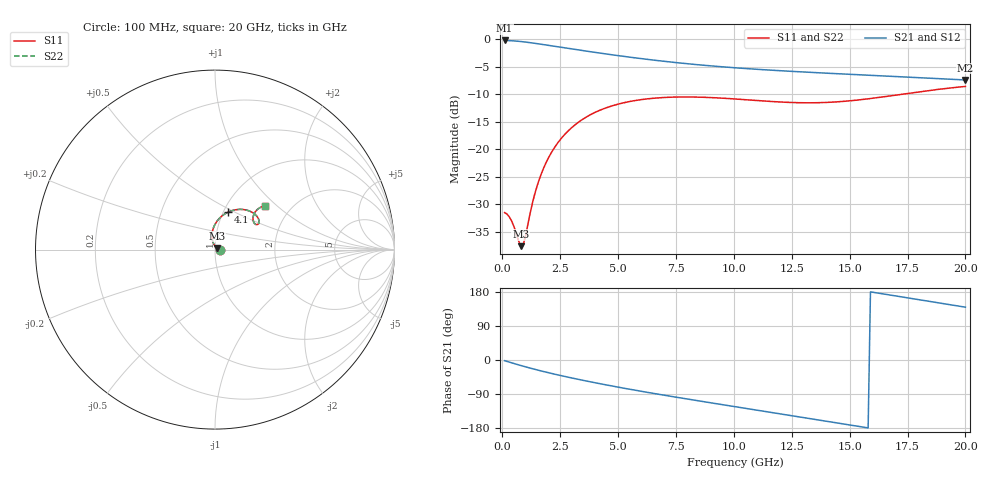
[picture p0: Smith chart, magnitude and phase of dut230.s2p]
! Created with skrf 1.9.0 (http://scikit-rf.org).
# GHz S RI R 50.0
!freq ReS11 ImS11 ReS21 ImS21 ReS12 ImS12 ReS22 ImS22
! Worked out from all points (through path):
!   200 points, 100 MHz to 20 GHz, reference 50 ohm
!   highest |S21| = -0.24 dB at 100 MHz (marker M1); lowest = -7.4 dB at 20 GHz (marker M2)
!   group delay of S21, straight-line fit = 28.9 ps
!   lowest |S11| = -37.6 dB at 800 MHz (marker M3), VSWR 1.03, Z = 51 + j0.87 ohm
!   |S11| at or under -10 dB: start of sweep to 17.29 GHz
!   |S22| runs from -37.6 to -8.6 dB; largest |S21 - S12| = 2e-15
!   S11 on the Smith chart (normalised r, x): 100 MHz: 1.05, +0.00; 4.1 GHz: 1.05, +0.46; 20 GHz: 1.49, +0.84
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0.1  0.0265 1.49e-05  0.9723 -0.0317  0.9723 -0.0317  0.0265 1.49e-05
0.4  0.0223 0.00123  0.959 -0.1249  0.959 -0.1249  0.0223 0.00123
0.8  0.00998 0.00853  0.9207 -0.2393  0.9207 -0.2393  0.00998 0.00853
0.9  0.00634 0.0119  0.9082 -0.2656  0.9082 -0.2656  0.00634 0.0119
1  0.0027 0.0158  0.8948 -0.2908  0.8948 -0.2908  0.0027 0.0158
1.3  -0.00728 0.0314  0.85 -0.3602  0.85 -0.3602  -0.00728 0.0314
1.5  -0.0124 0.0444  0.8174 -0.4012  0.8174 -0.4012  -0.0124 0.0444
1.9  -0.0169 0.0742  0.7482 -0.4716  0.7482 -0.4716  -0.0169 0.0742
2.2  -0.015 0.0981  0.6946 -0.5152  0.6946 -0.5152  -0.015 0.0981
2.6  -0.00554 0.129  0.6226 -0.5629  0.6226 -0.5629  -0.00554 0.129
3.5  0.0363 0.185  0.4636 -0.6341  0.4636 -0.6341  0.0363 0.185
4.1  0.072 0.2083  0.3631 -0.6594  0.3631 -0.6594  0.072 0.2083
5.3  0.1425 0.2243  0.1803 -0.6708  0.1803 -0.6708  0.1425 0.2243
6.8  0.2071 0.2077  -0.0106 -0.6352  -0.0106 -0.6352  0.2071 0.2077
8.4  0.2402 0.1753  -0.1719 -0.5608  -0.1719 -0.5608  0.2402 0.1753
10.1  0.2442 0.1478  -0.3032 -0.4566  -0.3032 -0.4566  0.2442 0.1478
11.8  0.2311 0.1392  -0.3978 -0.3338  -0.3978 -0.3338  0.2311 0.1392
13.4  0.217 0.1503  -0.4532 -0.206  -0.4532 -0.206  0.217 0.1503
15  0.2117 0.1753  -0.4735 -0.0726  -0.4735 -0.0726  0.2117 0.1753
16.7  0.2223 0.2071  -0.4557 0.0649  -0.4557 0.0649  0.2223 0.2071
18.3  0.2466 0.2315  -0.405 0.1798  -0.405 0.1798  0.2466 0.2315
20  0.2808 0.2435  -0.3231 0.2772  -0.3231 0.2772  0.2808 0.2435
